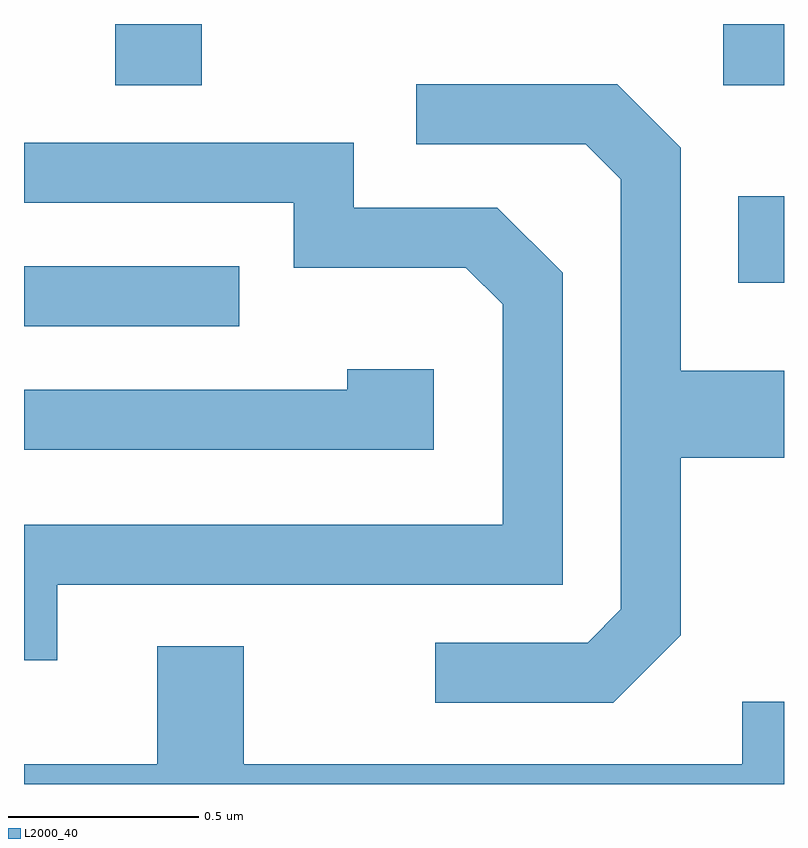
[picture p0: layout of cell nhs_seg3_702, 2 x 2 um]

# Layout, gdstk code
import gdstk
lib = gdstk.Library(unit=1e-6, precision=1e-09)
def R(c, l, rs):  # rectangles x0, y0, x1, y1
    for r in rs: c.add(gdstk.rectangle(r[:2], r[2:], *l))
def P(c, l, *ps):  # polygons
    for p in ps: c.add(gdstk.Polygon(p, *l))
L2000_40 = (2000, 40)

nhs_seg3_702 = lib.new_cell('nhs_seg3_702')
R(nhs_seg3_702, L2000_40, [(190.611,1134.096,191.178,1134.254), (192.491,1134.211,192.611,1134.439), (190.851,1134.731,191.079,1134.892), (192.451,1134.731,192.611,1134.892)])
P(nhs_seg3_702, L2000_40, [(192.339,1133.284),(192.339,1133.751),(192.611,1133.751),(192.611,1133.979),(192.339,1133.979),(192.339,1134.567),(192.172,1134.734),(191.643,1134.734),(191.643,1134.576),(192.089,1134.576),(192.181,1134.484),(192.181,1133.352),(192.094,1133.264),(191.693,1133.264),(191.693,1133.106),(192.162,1133.106)],
  [(190.699,1133.416),(192.029,1133.416),(192.029,1134.237),(191.857,1134.409),(191.479,1134.409),(191.479,1134.579),(190.611,1134.579),(190.611,1134.421),(191.321,1134.421),(191.321,1134.251),(191.774,1134.251),(191.871,1134.154),(191.871,1133.574),(190.611,1133.574),(190.611,1133.218),(190.699,1133.218)],
  [(191.689,1133.984),(191.461,1133.984),(191.461,1133.929),(190.611,1133.929),(190.611,1133.771),(191.689,1133.771)],
  [(192.611,1133.109),(192.501,1133.109),(192.501,1132.944),(191.189,1132.944),(191.189,1133.254),(190.961,1133.254),(190.961,1132.944),(190.611,1132.944),(190.611,1132.892),(192.611,1132.892)])

lib.write_gds('nhs_seg3_702.gds')
